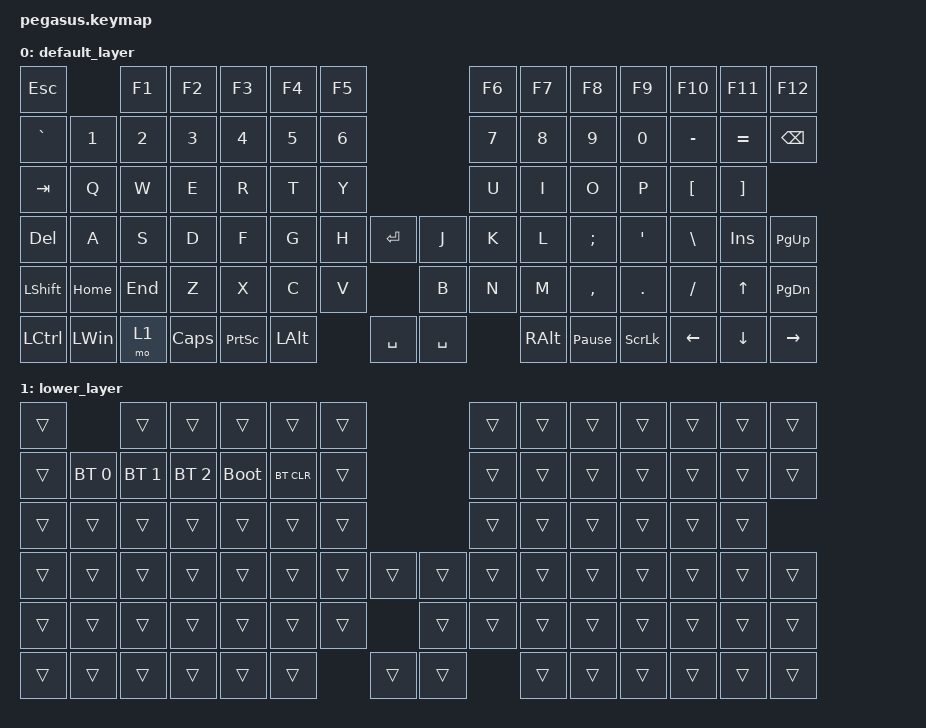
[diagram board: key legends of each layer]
#include <behaviors.dtsi>
#include <dt-bindings/zmk/keys.h>
#include <dt-bindings/zmk/bt.h>



/ {
        keymap {
                compatible = "zmk,keymap";
        
                default_layer {
// -----------------------------------------------------------------------------------------
// | ESC   |        |   F1  |     F2    |    F3   |   F4   |  F5  |      |      |        |  F6  |   F7   |       F8        |   F9   |  F10    |  F11    |  F12    |
// | GRAVE |   N1   |   N2  |     N3    |    N4   |   N5   |  N6  |      |      |        |  N7  |   N8   |       N9        |   N0   |  MINUS  |  EQUAL  |  BSPC   |
// | TAB   |   Q    |   W   |     E     |    R    |   T    |  Y   |      |      |        |  U   |   I    |       O         |   P    |  LBKT   |  RBKT   |         |
// | DEL   |   A    |   S   |     D     |    F    |   G    |  H   | RET  |      |   J    |  K   |   L    |      SEMI       |  APOS  |  BSLH   |  INS    |  PG_UP  |
// | SHIFT |  HOME  |  END  |     Z     |    X    |   C    |  V   |      |      |   B    |  N   |   M    |      COMMA      |  DOT   |  FSLH   |  UP     |  PG_DN  |
// | CTRL  |  LWIN  |  FN   |   CPSLK   |  PSCRN  |  LALT  |      | SPC  |      |  SPC   |      |  RALT  |   PAUSE_BREAK   |  SLCK  |  LEFT   |  DOWN   |  RIGHT  |
                        bindings = <
   &kp ESC             &kp F1  &kp F2    &kp F3    &kp F4   &kp F5                         &kp F6  &kp F7    &kp F8          &kp F9   &kp F10   &kp F11   &kp F12
   &kp GRAVE  &kp N1   &kp N2  &kp N3    &kp N4    &kp N5   &kp N6                         &kp N7  &kp N8    &kp N9          &kp N0   &kp MINUS &kp EQUAL &kp BSPC
   &kp TAB    &kp Q    &kp W   &kp E     &kp R     &kp T    &kp Y                          &kp U   &kp I     &kp O           &kp P    &kp LBKT  &kp RBKT         
   &kp DEL    &kp A    &kp S   &kp D     &kp F     &kp G    &kp H   &kp RET       &kp J    &kp K   &kp L     &kp SEMI        &kp APOS &kp BSLH  &kp INS   &kp PG_UP
   &kp LSHIFT &kp HOME &kp END &kp Z     &kp X     &kp C    &kp V                 &kp B    &kp N   &kp M     &kp COMMA       &kp DOT  &kp FSLH  &kp UP    &kp PG_DN
   &kp LCTRL  &kp LWIN &mo 1   &kp CAPS  &kp PSCRN &kp LALT         &kp SPACE     &kp SPACE        &kp RALT  &kp PAUSE_BREAK &kp SLCK &kp LEFT  &kp DOWN  &kp RIGHT
                        >;
                };
                lower_layer {
// -----------------------------------------------------------------------------------------
// | TRNS  |        |   C_BRI_DN   |  C_BRI_UP |  C_VOL_DN  |  C_VOL_UP  |  C_MUTE   |      |     |         | C_RW |  C_PP  |      C_FF      |  TRNS  |  TRNS   |  F11    |  F12   |
// | TRNS  |  BTL0  |     BTL1     |    BTL2   |    BTL3    |    BTL4    |   TRNS    |      |     |         | TRNS |  TRNS  |      TRNS      |  TRNS  |  TRNS   |  TRNS   |  TRNS  |
// | TRNS  |  TRNS  |     TRNS     |    TRNS   |    TRNS    |    TRNS    |   TRNS    |      |     |         | TRNS |  TRNS  |      TRNS      |  TRNS  |  TRNS   |  TRNS   |        |
// | TRNS  |  TRNS  |     TRNS     |    TRNS   |    TRNS    |    TRNS    |   TRNS    | TRNS |     |  TRNS   | TRNS |  TRNS  |      TRNS      |  TRNS  |  TRNS   |  TRNS   |  TRNS  |
// | TRNS  |  TRNS  |     TRNS     |    TRNS   |    TRNS    |    TRNS    |   TRNS    |      |     |  TRNS   | TRNS |  TRNS  |      TRNS      |  TRNS  |  TRNS   |  TRNS   |  TRNS  |
// | TRNS  |  TRNS  |     TRNS     |    TRNS   |    TRNS    |    TRNS    |           | TRNS |     |  TRNS   |      |  TRNS  |      TRNS      |  TRNS  |  TRNS   |  TRNS   |  TRNS  |
                        bindings = <
   &trans                   &trans          &trans          &trans          &trans          &trans                             &trans   &trans    &trans    &trans    &trans    &trans    &trans
   &trans    &bt BT_SEL 0   &bt BT_SEL 1    &bt BT_SEL 2    &bootloader     &bt BT_CLR      &trans                             &trans   &trans    &trans    &trans    &trans    &trans    &trans
   &trans    &trans         &trans          &trans          &trans          &trans          &trans                             &trans   &trans    &trans    &trans    &trans    &trans          
   &trans    &trans         &trans          &trans          &trans          &trans          &trans       &trans       &trans   &trans   &trans    &trans    &trans    &trans    &trans    &trans
   &trans    &trans         &trans          &trans          &trans          &trans          &trans                    &trans   &trans   &trans    &trans    &trans    &trans    &trans    &trans
   &trans    &trans         &trans          &trans          &trans          &trans                       &trans       &trans            &trans    &trans    &trans    &trans    &trans    &trans
                        >;
                };
        };
};
